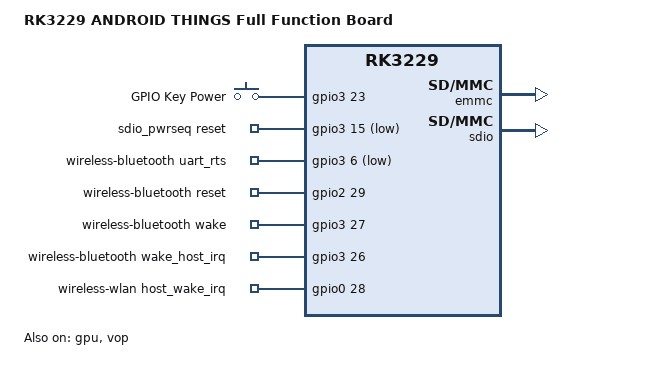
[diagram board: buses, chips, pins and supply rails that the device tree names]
/*
 * Copyright (c) 2018 Fuzhou Rockchip Electronics Co., Ltd
 *
 * SPDX-License-Identifier: (GPL-2.0+ OR MIT).
 */

/dts-v1/;

#include "rk3229-at-som.dtsi"

/ {
	model = "RK3229 ANDROID THINGS Full Function Board";
	compatible = "rockchip,rk3229-at-3nod", "rockchip,rk3229";

	gpio_keys {
		compatible = "gpio-keys";
		#address-cells = <1>;
		#size-cells = <0>;
		autorepeat;

		pinctrl-names = "default";
		pinctrl-0 = <&pwr_key>;

		power_key {
			label = "GPIO Key Power";
			gpios = <&gpio3 23 GPIO_ACTIVE_HIGH>;
			linux,code = <116>;
			debounce-interval = <100>;
			wakeup-source;
		};
	};

	sdio_pwrseq: sdio-pwrseq {
		compatible = "mmc-pwrseq-simple";
		clocks = <&rk805 1>;
		clock-names = "ext_clock";
		pinctrl-names = "default";
		pinctrl-0 = <&wifi_enable_h>;

		/*
		 * On the module itself this is one of these (depending
		 * on the actual card populated):
		 * - SDIO_RESET_L_WL_REG_ON
		 * - PDN (power down when low)
		 */
		reset-gpios = <&gpio3 15 GPIO_ACTIVE_LOW>; /* GPIO3_B7 */
	};

	wireless-bluetooth {
		compatible = "bluetooth-platdata";
		clocks = <&rk805 1>;
		clock-names = "ext_clock";
		uart_rts_gpios = <&gpio3 6 GPIO_ACTIVE_LOW>;
		pinctrl-names = "default", "rts_gpio";
		pinctrl-0 = <&uart11_rts>;
		pinctrl-1 = <&uart11_rts_gpio>;
		BT,reset_gpio    = <&gpio2 29 GPIO_ACTIVE_HIGH>;
		BT,wake_gpio     = <&gpio3 27 GPIO_ACTIVE_HIGH>;
		BT,wake_host_irq = <&gpio3 26 GPIO_ACTIVE_HIGH>;
		status = "okay";
	};

	wireless-wlan {
		compatible = "wlan-platdata";
		rockchip,grf = <&grf>;
		wifi_chip_type = "ap6255";
		WIFI,host_wake_irq = <&gpio0 28 GPIO_ACTIVE_HIGH>;
		status = "okay";
	};
};

&emmc {
	/*
	 * enable emmc ddr mode, choose the
	 * according parameter base on the emmc
	 * io voltage.
	 */
	mmc-ddr-1_8v;
	status = "okay";
};

&gpu {
	status = "okay";
};

&nandc {
	status = "disabled";
};

&pinctrl {
	pinctrl-names = "default";
	/*
	 * sdmmc, pwm0, pwm2, ir, and spdif pins are defaultly set as gpio,
	 * if you want to enable it, please remove below besides fixed_gpio.
	 */
	pinctrl-0 = <&sdmmc_gpio &pwm0_gpio &pwm2_gpio
		     &ir_gpio &spdif_gpio &fixed_gpio>;

	keys {
		pwr_key: pwr-key {
			rockchip,pins = <3 RK_PC7 RK_FUNC_GPIO &pcfg_pull_down>;
		};
	};

	sdio-pwrseq {
		wifi_enable_h: wifi-enable-h {
			rockchip,pins = <3 RK_PB7 RK_FUNC_GPIO &pcfg_pull_none>;
		};
	};
};

&reboot_mode {
	/delete-property/ mode-bootloader;
};

&sdio {
	max-frequency = <150000000>;
	mmc-pwrseq = <&sdio_pwrseq>;
	num-slots = <1>;
	sd-uhs-sdr104;
	status = "okay";
};

&vop {
	assigned-clocks = <&cru DCLK_VOP>;
	assigned-clock-parents = <&cru HDMIPHY>;
	status = "okay";
};

&vop_mmu {
	status = "okay";
};
